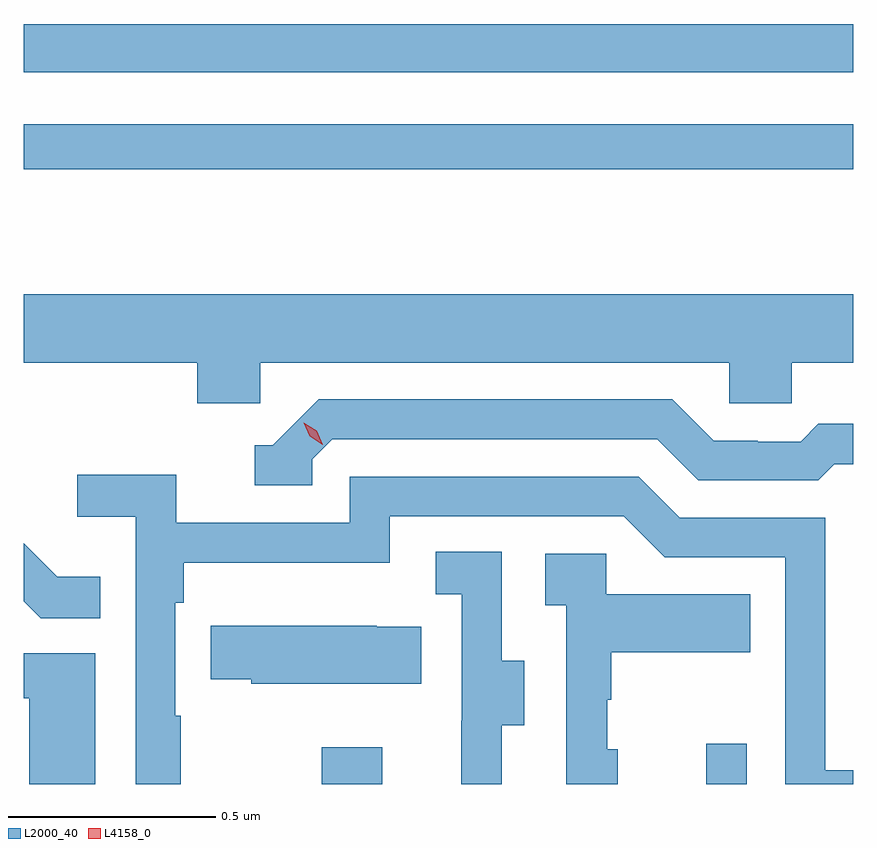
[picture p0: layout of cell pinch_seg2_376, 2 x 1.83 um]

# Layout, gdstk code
import gdstk
lib = gdstk.Library(unit=1e-6, precision=1e-09)
def R(c, l, rs):  # rectangles x0, y0, x1, y1
    for r in rs: c.add(gdstk.rectangle(r[:2], r[2:], *l))
def P(c, l, *ps):  # polygons
    for p in ps: c.add(gdstk.Polygon(p, *l))
L2000_40 = (2000, 40)
L4158_0 = (4158, 0)

pinch_seg2_376 = lib.new_cell('pinch_seg2_376')
R(pinch_seg2_376, L2000_40, [(1009.87,611.988,1010.017,612.076), (1010.798,611.988,1010.895,612.085), (1009.152,613.47,1011.152,613.578), (1009.152,613.704,1011.152,613.82)])
P(pinch_seg2_376, L2000_40, [(1009.722,613.004),(1010.853,613.004),(1010.853,612.906),(1011.003,612.906),(1011.003,613.004),(1011.152,613.004),(1011.152,613.168),(1009.152,613.168),(1009.152,613.004),(1009.571,613.004),(1009.571,612.906),(1009.722,612.906)],
  [(1009.848,612.771),(1009.896,612.819),(1010.679,612.819),(1010.778,612.72),(1011.067,612.72),(1011.106,612.759),(1011.152,612.759),(1011.152,612.856),(1011.067,612.856),(1011.025,612.813),(1010.922,612.813),(1010.922,612.816),(1010.815,612.816),(1010.716,612.915),(1009.863,612.915),(1009.752,612.804),(1009.709,612.804),(1009.709,612.708),(1009.848,612.708)],
  [(1009.531,612.152),(1009.518,612.152),(1009.518,612.425),(1009.538,612.425),(1009.538,612.521),(1010.034,612.521),(1010.034,612.633),(1010.598,612.633),(1010.697,612.534),(1010.988,612.534),(1010.988,611.988),(1011.152,611.988),(1011.152,612.021),(1011.084,612.021),(1011.084,612.63),(1010.734,612.63),(1010.635,612.729),(1009.938,612.729),(1009.938,612.618),(1009.52,612.618),(1009.52,612.734),(1009.281,612.734),(1009.281,612.632),(1009.422,612.632),(1009.422,611.988),(1009.531,611.988)],
  [(1009.337,612.487),(1009.233,612.487),(1009.152,612.568),(1009.152,612.429),(1009.193,612.388),(1009.337,612.388)],
  [(1010.305,612.13),(1010.359,612.13),(1010.359,612.285),(1010.304,612.285),(1010.304,612.548),(1010.145,612.548),(1010.145,612.445),(1010.208,612.445),(1010.208,612.141),(1010.207,612.141),(1010.207,611.988),(1010.305,611.988)],
  [(1010.584,612.072),(1010.559,612.072),(1010.559,612.191),(1010.569,612.191),(1010.569,612.305),(1010.903,612.305),(1010.903,612.445),(1010.556,612.445),(1010.556,612.543),(1010.409,612.543),(1010.409,612.419),(1010.46,612.419),(1010.46,611.988),(1010.584,611.988)],
  [(1010.111,612.367),(1010.003,612.367),(1010.003,612.37),(1009.603,612.37),(1009.603,612.241),(1009.701,612.241),(1009.701,612.23),(1010.111,612.23)],
  [(1009.324,612.303),(1009.152,612.303),(1009.152,612.195),(1009.166,612.195),(1009.166,611.988),(1009.324,611.988)])
P(pinch_seg2_376, L4158_0, [(1009.873,612.806),(1009.842,612.826),(1009.827,612.859),(1009.827,612.859),(1009.827,612.859),(1009.858,612.839),(1009.873,612.806),(1009.873,612.806)])

lib.write_gds('pinch_seg2_376.gds')
